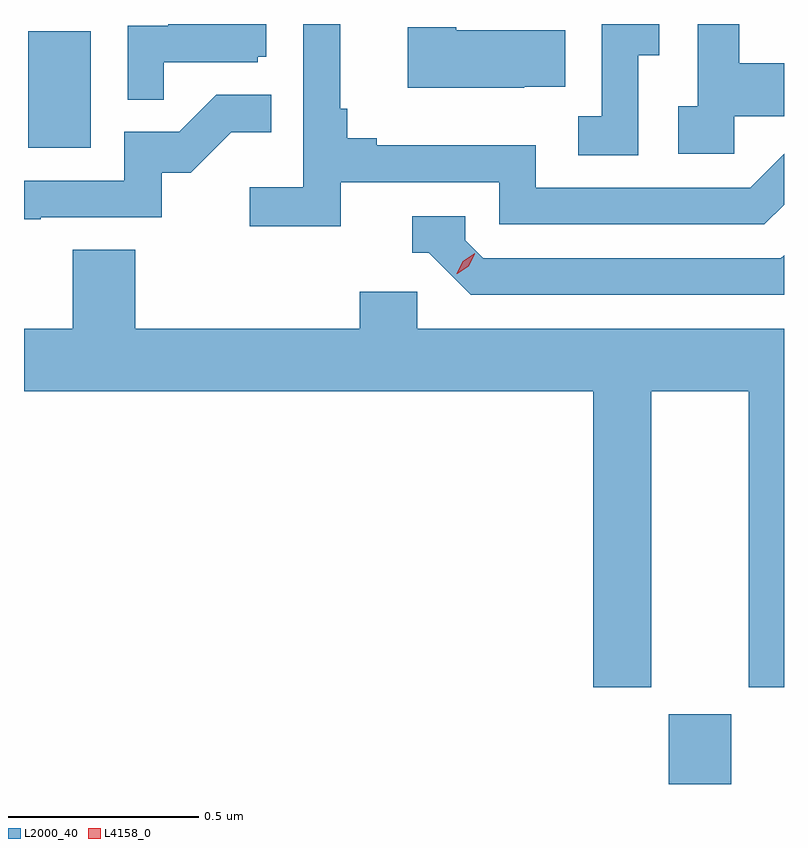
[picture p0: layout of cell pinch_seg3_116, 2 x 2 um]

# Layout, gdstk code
import gdstk
lib = gdstk.Library(unit=1e-6, precision=1e-09)
def R(c, l, rs):  # rectangles x0, y0, x1, y1
    for r in rs: c.add(gdstk.rectangle(r[:2], r[2:], *l))
def P(c, l, *ps):  # polygons
    for p in ps: c.add(gdstk.Polygon(p, *l))
L2000_40 = (2000, 40)
L4158_0 = (4158, 0)

pinch_seg3_116 = lib.new_cell('pinch_seg3_116')
R(pinch_seg3_116, L2000_40, [(1036.802,707.874,1036.966,708.057), (1035.116,709.548,1035.28,709.855)])
P(pinch_seg3_116, L2000_40, [(1035.473,709.773),(1035.72,709.773),(1035.72,709.788),(1035.742,709.788),(1035.742,709.874),(1035.485,709.874),(1035.485,709.869),(1035.378,709.869),(1035.378,709.675),(1035.473,709.675)],
  [(1035.938,709.458),(1036.356,709.458),(1036.356,709.347),(1037.053,709.347),(1037.105,709.399),(1037.105,709.532),(1037.016,709.443),(1036.452,709.443),(1036.452,709.555),(1036.033,709.555),(1036.033,709.574),(1035.956,709.574),(1035.956,709.651),(1035.937,709.651),(1035.937,709.874),(1035.84,709.874),(1035.84,709.444),(1035.699,709.444),(1035.699,709.342),(1035.938,709.342)],
  [(1036.722,709.792),(1036.777,709.792),(1036.777,709.874),(1036.626,709.874),(1036.626,709.631),(1036.563,709.631),(1036.563,709.528),(1036.722,709.528)],
  [(1036.974,709.631),(1037.105,709.631),(1037.105,709.771),(1036.987,709.771),(1036.987,709.874),(1036.878,709.874),(1036.878,709.658),(1036.827,709.658),(1036.827,709.533),(1036.974,709.533)],
  [(1036.421,709.709),(1036.529,709.709),(1036.529,709.858),(1036.243,709.858),(1036.243,709.866),(1036.115,709.866),(1036.115,709.706),(1036.421,709.706)],
  [(1035.149,709.365),(1035.468,709.365),(1035.468,709.482),(1035.544,709.482),(1035.651,709.589),(1035.755,709.589),(1035.755,709.688),(1035.611,709.688),(1035.513,709.59),(1035.369,709.59),(1035.369,709.461),(1035.105,709.461),(1035.105,709.36),(1035.149,709.36)],
  [(1037.105,709.265),(1037.097,709.257),(1036.314,709.257),(1036.266,709.305),(1036.266,709.368),(1036.127,709.368),(1036.127,709.272),(1036.17,709.272),(1036.281,709.161),(1037.105,709.161)],
  [(1036.756,708.908),(1037.012,708.908),(1037.012,708.129),(1037.105,708.129),(1037.105,709.072),(1036.14,709.072),(1036.14,709.17),(1035.989,709.17),(1035.989,709.072),(1035.398,709.072),(1035.398,709.28),(1035.233,709.28),(1035.233,709.072),(1035.105,709.072),(1035.105,708.908),(1036.603,708.908),(1036.603,708.129),(1036.756,708.129)])
P(pinch_seg3_116, L4158_0, [(1036.244,709.217),(1036.244,709.217),(1036.26,709.25),(1036.291,709.271),(1036.291,709.271),(1036.291,709.27),(1036.275,709.237),(1036.245,709.217)])

lib.write_gds('pinch_seg3_116.gds')
